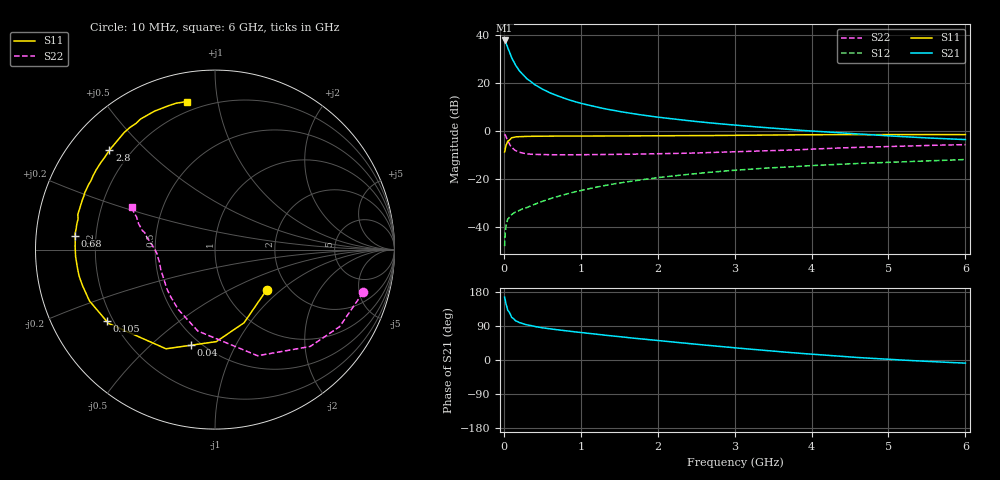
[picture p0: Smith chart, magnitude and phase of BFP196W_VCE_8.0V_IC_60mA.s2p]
! Infineon Technologies  Discrete & RF Semiconductors
! BFP196W
! VCE = 8.0 V,  IC =  60mA
! Common Emitter S-Parameters:  Jan 2016
# GHz  S  MA  R  50
!  f  S11  S21  S12  S22
! GHz  MAG  ANG  MAG  ANG  MAG  ANG  MAG  ANG
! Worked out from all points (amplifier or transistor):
!   210 points, 10 MHz to 6 GHz, reference 50 ohm
!   highest |S21| = 37.9 dB at 10 MHz (marker M1)
!   |S21| within 3 dB of that: start of sweep to 49.82 MHz
!   unconditionally stable (mu >= 1): 625.7 MHz to 3.557 GHz; 3.632 GHz to 3.86 GHz
!   at 185 MHz: K = 0.56, MSG = 29.8 dB, |S12| = -33.5 dB
!   at 1.52 GHz: K = 1.10, MAG = 12.9 dB, |S12| = -21.7 dB
!   at 6 GHz: K = 0.97, MSG = 4.2 dB, |S12| = -11.9 dB
!   S11 on the Smith chart (normalised r, x): 10 MHz: 1.56, -0.80; 40 MHz: 0.45, -0.68; 105 MHz: 0.17, -0.29; 680 MHz: 0.12, +0.05; 2.8 GHz: 0.12, +0.39; 6 GHz: 0.15, +0.82
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0.01  0.3648 -37.6  78.37 166.0  0.0039 75.2  0.8588 -16.1
0.02  0.4388 -68.4  75 156.0  0.0079 68.0  0.8165 -31.7
0.03  0.5128 -89.2  68.67 146.5  0.0106 61.2  0.7567 -45.5
0.04  0.549 -104.0  61.51 139.9  0.0123 54.6  0.6836 -55.8
0.05  0.6164 -116.3  55.38 131.6  0.0142 49.6  0.6373 -68.1
0.1  0.7218 -145.3  34.28 113.0  0.0178 39.5  0.4637 -101.9
0.105  0.7236 -146.6  33.23 112.3  0.018 39.4  0.4544 -103.5
0.15  0.7558 -157.8  24.07 103.8  0.0202 38.8  0.3917 -121.4
0.2  0.7646 -164.6  18.31 98.9  0.0217 40.4  0.3599 -133.5
0.26  0.7716 -169.6  14.37 94.9  0.0241 43.6  0.3422 -142.6
0.3  0.7731 -172.2  12.38 92.8  0.0251 46.2  0.3322 -147.5
0.4  0.7776 -177.1  9.349 88.4  0.0293 50.1  0.3244 -155.1
0.5  0.7795 179.2  7.526 85.0  0.0338 53.5  0.3215 -160.2
0.68  0.7837 174.4  5.596 80.2  0.0418 57.3  0.3176 -165.8
1.02  0.7831 167.0  3.731 72.2  0.058 60.4  0.3196 -171.5
1.4  0.7891 160.0  2.748 63.7  0.0767 60.3  0.3237 -175.2
2.02  0.7938 149.2  1.933 51.0  0.1067 57.2  0.3335 -179.8
2.8  0.8082 136.7  1.418 35.9  0.1424 51.1  0.3579 174.8
3.1  0.8147 132.2  1.287 30.5  0.1552 48.3  0.3715 172.1
4.1  0.8374 118.5  0.976 14.0  0.1925 39.8  0.4244 164.4
5.1  0.8424 108.0  0.776 0.6  0.2245 31.9  0.4776 157.0
6  0.8397 100.8  0.662 -8.3  0.2533 25.7  0.5195 153.0
